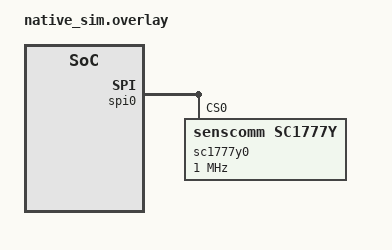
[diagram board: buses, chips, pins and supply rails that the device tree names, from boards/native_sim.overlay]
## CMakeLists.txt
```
# SPDX-License-Identifier: Apache-2.0

cmake_minimum_required(VERSION 3.20.0)
find_package(Zephyr REQUIRED HINTS $ENV{ZEPHYR_BASE})
project(sc1777y)

target_include_directories(app PRIVATE include)
target_sources(app PRIVATE src/fixture.c src/protocol.c src/api_errors.c src/api_basic.c
			   src/api_sensor.c src/api_update.c src/api_platform.c)
```

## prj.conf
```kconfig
CONFIG_ZTEST=y
CONFIG_EMUL=y
CONFIG_SPI=y
CONFIG_SPI_EMUL=y
CONFIG_SC1777Y=y
CONFIG_SC1777Y_EMUL=y
```

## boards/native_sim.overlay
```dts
/ {
	aliases {
		sc1777y-0 = &sc1777y0;
	};
};

&spi0 {
	sc1777y0: sc1777y@0 {
		compatible = "senscomm,sc1777y";
		reg = <0>;
		spi-max-frequency = <1000000>;
	};
};
```

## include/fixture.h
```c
/* SPDX-License-Identifier: Apache-2.0 */

#ifndef TESTS_DRIVERS_MISC_SC1777Y_INCLUDE_FIXTURE_H_
#define TESTS_DRIVERS_MISC_SC1777Y_INCLUDE_FIXTURE_H_

#include <zephyr/device.h>
#include <zephyr/drivers/emul.h>

struct sc1777y_fixture {
	const struct device *dev;
	const struct emul *emul;
};

#endif /* TESTS_DRIVERS_MISC_SC1777Y_INCLUDE_FIXTURE_H_ */
```

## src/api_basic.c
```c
/* SPDX-License-Identifier: Apache-2.0 */

#include <zephyr/drivers/misc/sc1777y.h>
#include <zephyr/drivers/misc/sc1777y_emul.h>
#include <zephyr/ztest.h>

#include "fixture.h"

ZTEST_F(sc1777y, test_get_random_sends_008400040000)
{
	uint8_t rand4[4];
	uint8_t frame[16];
	size_t frame_len;
	const uint8_t expected_frame[] = {0x55, 0x00, 0x84, 0x00, 0x04, 0x00, 0x00, 0x7F};
	const uint8_t expected_rand[] = {0xA0, 0xA1, 0xA2, 0xA3};

	zassert_ok(sc1777y_get_random(fixture->dev, rand4, sizeof(rand4)));
	zassert_mem_equal(expected_rand, rand4, sizeof(expected_rand));
	zassert_ok(sc1777y_emul_get_last_command(fixture->emul, frame, sizeof(frame), &frame_len));
	zassert_mem_equal(expected_frame, frame, sizeof(expected_frame));
	zassert_equal(sizeof(expected_frame), frame_len);
}

ZTEST_F(sc1777y, test_get_random4_sends_008400040000)
{
	uint8_t rand4[4];
	uint8_t frame[16];
	size_t frame_len;
	const uint8_t expected_frame[] = {0x55, 0x00, 0x84, 0x00, 0x04, 0x00, 0x00, 0x7F};
	const uint8_t expected_rand[] = {0xA0, 0xA1, 0xA2, 0xA3};

	zassert_ok(sc1777y_get_random4(fixture->dev, rand4));
	zassert_mem_equal(expected_rand, rand4, sizeof(expected_rand));
	zassert_ok(sc1777y_emul_get_last_command(fixture->emul, frame, sizeof(frame), &frame_len));
	zassert_mem_equal(expected_frame, frame, sizeof(expected_frame));
	zassert_equal(sizeof(expected_frame), frame_len);
}

ZTEST_F(sc1777y, test_get_random4_rejects_null_output)
{
	zassert_equal(-EINVAL, sc1777y_get_random4(fixture->dev, NULL));
	zassert_equal(0, sc1777y_emul_get_command_count(fixture->emul));
}

ZTEST_F(sc1777y, test_get_random_rejects_invalid_lengths)
{
	uint8_t rand4[4];

	zassert_equal(-EINVAL, sc1777y_get_random(fixture->dev, NULL, sizeof(rand4)));
	zassert_equal(-EINVAL, sc1777y_get_random(fixture->dev, rand4, 0));
}

ZTEST_F(sc1777y, test_get_sensor_identity_sends_003600000000)
{
	struct sc1777y_identity identity;
	uint8_t frame[16];
	size_t frame_len;
	const uint8_t expected_frame[] = {0x55, 0x00, 0x36, 0x00, 0x00, 0x00, 0x00, 0xC9};
	const uint8_t expected_serial[] = {0x53, 0x43, 0x17, 0x77, 0x00, 0x00, 0x00, 0x01};
	const uint8_t expected_key_version[] = {0x01, 0x02, 0x03, 0x00};

	zassert_ok(sc1777y_get_sensor_identity(fixture->dev, &identity));
	zassert_mem_equal(expected_serial, identity.serial, sizeof(identity.serial));
	zassert_mem_equal(expected_key_version, identity.key_version,
			  sizeof(identity.key_version));
	zassert_ok(sc1777y_emul_get_last_command(fixture->emul, frame, sizeof(frame), &frame_len));
	zassert_mem_equal(expected_frame, frame, sizeof(expected_frame));
	zassert_equal(sizeof(expected_frame), frame_len);
}

ZTEST_F(sc1777y, test_get_sensor_identity_rejects_null_output)
{
	zassert_equal(-EINVAL, sc1777y_get_sensor_identity(fixture->dev, NULL));
	zassert_equal(0, sc1777y_emul_get_command_count(fixture->emul));
}

ZTEST_F(sc1777y, test_get_update_identity_sends_001000000000)
{
	struct sc1777y_identity identity;
	uint8_t frame[16];
	size_t frame_len;
	const uint8_t expected_frame[] = {0x55, 0x00, 0x10, 0x00, 0x00, 0x00, 0x00, 0xEF};
	const uint8_t expected_serial[] = {0x53, 0x43, 0x17, 0x77, 0x00, 0x00, 0x00, 0x01};
	const uint8_t expected_key_version[] = {0x01, 0x02, 0x03, 0x00};

	zassert_ok(sc1777y_get_update_identity(fixture->dev, &identity));
	zassert_mem_equal(expected_serial, identity.serial, sizeof(identity.serial));
	zassert_mem_equal(expected_key_version, identity.key_version,
			  sizeof(identity.key_version));
	zassert_ok(sc1777y_emul_get_last_command(fixture->emul, frame, sizeof(frame), &frame_len));
	zassert_mem_equal(expected_frame, frame, sizeof(expected_frame));
	zassert_equal(sizeof(expected_frame), frame_len);
}

ZTEST_F(sc1777y, test_get_update_identity_rejects_null_output)
{
	zassert_equal(-EINVAL, sc1777y_get_update_identity(fixture->dev, NULL));
	zassert_equal(0, sc1777y_emul_get_command_count(fixture->emul));
}

ZTEST_F(sc1777y, test_get_version_info_sends_005b00400000)
{
	struct sc1777y_version_info version;
	uint8_t frame[16];
	size_t frame_len;
	uint8_t expected_version[sizeof(version.bytes)];
	const uint8_t expected_frame[] = {0x55, 0x00, 0x5B, 0x00, 0x40, 0x00, 0x00, 0xE4};

	for (size_t i = 0; i < sizeof(expected_version); i++) {
		expected_version[i] = 0x30 + i;
	}

	zassert_ok(sc1777y_get_version_info(fixture->dev, &version));
	zassert_mem_equal(expected_version, version.bytes, sizeof(version.bytes));
	zassert_ok(sc1777y_emul_get_last_command(fixture->emul, frame, sizeof(frame), &frame_len));
	zassert_mem_equal(expected_frame, frame, sizeof(expected_frame));
	zassert_equal(sizeof(expected_frame), frame_len);
}

ZTEST_F(sc1777y, test_get_version_info_rejects_null_output)
{
	zassert_equal(-EINVAL, sc1777y_get_version_info(fixture->dev, NULL));
	zassert_equal(0, sc1777y_emul_get_command_count(fixture->emul));
}

ZTEST_F(sc1777y, test_get_serial_sends_00b0990000020008)
{
	uint8_t serial[SC1777Y_SERIAL_LEN];
	uint8_t frame[16];
	size_t frame_len;
	const uint8_t expected_frame[] = {0x55, 0x00, 0xB0, 0x99, 0x00,
					  0x00, 0x02, 0x00, 0x08, 0xDC};
	const uint8_t expected_serial[] = {0x53, 0x43, 0x17, 0x77, 0x00, 0x00, 0x00, 0x01};

	zassert_ok(sc1777y_get_serial(fixture->dev, serial));
	zassert_mem_equal(expected_serial, serial, sizeof(expected_serial));
	zassert_ok(sc1777y_emul_get_last_command(fixture->emul, frame, sizeof(frame), &frame_len));
	zassert_mem_equal(expected_frame, frame, sizeof(expected_frame));
	zassert_equal(sizeof(expected_frame), frame_len);
}

ZTEST_F(sc1777y, test_get_serial_rejects_null_output)
{
	zassert_equal(-EINVAL, sc1777y_get_serial(fixture->dev, NULL));
	zassert_equal(0, sc1777y_emul_get_command_count(fixture->emul));
}
```

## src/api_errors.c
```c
/* SPDX-License-Identifier: Apache-2.0 */

#include <errno.h>

#include <zephyr/drivers/misc/sc1777y.h>
#include <zephyr/drivers/misc/sc1777y_emul.h>
#include <zephyr/ztest.h>

#include "fixture.h"

ZTEST_F(sc1777y, test_null_device_returns_einval)
{
	uint8_t out[4];

	zassert_equal(-EINVAL, sc1777y_get_random(NULL, out, sizeof(out)));
}

ZTEST_F(sc1777y, test_required_output_pointer_rejected_before_spi)
{
	zassert_equal(-EINVAL, sc1777y_get_sensor_identity(fixture->dev, NULL));
	zassert_equal(0, sc1777y_emul_get_command_count(fixture->emul));
}

ZTEST_F(sc1777y, test_output_buffer_too_small_reports_enomem_before_spi)
{
	uint8_t input[SC1777Y_BLOCK16_MIN_LEN] = {0};
	uint8_t out[SC1777Y_BLOCK16_MIN_LEN - 1U];
	size_t out_len = 0U;

	zassert_equal(-ENOMEM, sc1777y_session_encrypt(fixture->dev, input, sizeof(input), out,
						       sizeof(out), &out_len));
	zassert_equal(sizeof(input), out_len);
	zassert_equal(0, sc1777y_emul_get_command_count(fixture->emul));
}

ZTEST_F(sc1777y, test_invalid_sensor_type_rejected_before_spi)
{
	uint8_t sensor_id[8] = {0};
	uint8_t encrypted[8] = {0};
	uint8_t rand4[4];

	zassert_equal(-EINVAL, sc1777y_verify_sensor_auth(fixture->dev,
							  (enum sc1777y_sensor_type)99,
							  sensor_id, encrypted, rand4));
	zassert_equal(0, sc1777y_emul_get_command_count(fixture->emul));
}

ZTEST_F(sc1777y, test_invalid_platform_type_rejected_before_spi)
{
	zassert_equal(-EINVAL, sc1777y_set_platform_type(fixture->dev,
							 (enum sc1777y_platform_type)99));
	zassert_equal(0, sc1777y_emul_get_command_count(fixture->emul));
}

ZTEST_F(sc1777y, test_sensor_block_length_rejected_before_spi)
{
	uint8_t input[7] = {0};
	uint8_t out[8];
	size_t out_len = 0U;

	zassert_equal(-EINVAL, sc1777y_sensor_encrypt(fixture->dev, input, sizeof(input), out,
						      sizeof(out), &out_len));
	zassert_equal(0, sc1777y_emul_get_command_count(fixture->emul));
}

ZTEST_F(sc1777y, test_session_block_length_rejected_before_spi)
{
	uint8_t input[SC1777Y_BLOCK16_MIN_LEN - 1U] = {0};
	uint8_t out[SC1777Y_BLOCK16_MIN_LEN];
	size_t out_len = 0U;

	zassert_equal(-EINVAL, sc1777y_session_encrypt(fixture->dev, input, sizeof(input), out,
						       sizeof(out), &out_len));
	zassert_equal(0, sc1777y_emul_get_command_count(fixture->emul));
}

ZTEST_F(sc1777y, test_ready_timeout_returns_etimedout)
{
	uint8_t out[4];

	sc1777y_emul_set_ready_delay(fixture->emul, 100000U);
	zassert_equal(-ETIMEDOUT, sc1777y_get_random(fixture->dev, out, sizeof(out)));
	zassert_equal(1, sc1777y_emul_get_command_count(fixture->emul));
}

ZTEST_F(sc1777y, test_6d00_maps_to_enotsup)
{
	uint8_t out[4];

	sc1777y_emul_set_next_status(fixture->emul, 0x6D, 0x00);
	zassert_equal(-ENOTSUP, sc1777y_get_random(fixture->dev, out, sizeof(out)));
	zassert_equal(1, sc1777y_emul_get_command_count(fixture->emul));
}

ZTEST_F(sc1777y, test_semantic_api_maps_6300_to_eacces)
{
	uint8_t out[4];

	sc1777y_emul_set_next_status(fixture->emul, 0x63, 0x00);
	zassert_equal(-EACCES, sc1777y_get_random(fixture->dev, out, sizeof(out)));
	zassert_equal(1, sc1777y_emul_get_command_count(fixture->emul));
}

ZTEST_F(sc1777y, test_repeated_6a90_returns_eio_after_three_attempts)
{
	uint8_t out[4];

	sc1777y_emul_set_status_repeat(fixture->emul, 0x6A, 0x90, 3U);
	zassert_equal(-EIO, sc1777y_get_random(fixture->dev, out, sizeof(out)));
	zassert_equal(3, sc1777y_emul_get_command_count(fixture->emul));
}
```

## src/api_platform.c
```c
/* SPDX-License-Identifier: Apache-2.0 */

#include <errno.h>
#include <string.h>

#include <zephyr/drivers/misc/sc1777y.h>
#include <zephyr/drivers/misc/sc1777y_emul.h>
#include <zephyr/ztest.h>

#include "fixture.h"

static uint8_t expected_lrc(const uint8_t *buf, size_t len)
{
	uint8_t x = 0U;

	for (size_t i = 0; i < len; i++) {
		x ^= buf[i];
	}

	return (uint8_t)~x;
}

static void fill_incrementing(uint8_t *buf, size_t len, uint8_t base)
{
	for (size_t i = 0; i < len; i++) {
		buf[i] = base + i;
	}
}

static void expect_xor_a5(uint8_t *expected, const uint8_t *input, size_t len)
{
	for (size_t i = 0; i < len; i++) {
		expected[i] = input[i] ^ 0xA5;
	}
}

ZTEST_F(sc1777y, test_import_platform_public_key_sends_803001010040)
{
	uint8_t key64[64];
	uint8_t expected_frame[72];
	uint8_t frame[72];
	size_t frame_len;

	fill_incrementing(key64, sizeof(key64), 0x10);
	expected_frame[0] = 0x55;
	expected_frame[1] = 0x80;
	expected_frame[2] = 0x30;
	expected_frame[3] = 0x01;
	expected_frame[4] = 0x01;
	expected_frame[5] = 0x00;
	expected_frame[6] = 0x40;
	memcpy(&expected_frame[7], key64, sizeof(key64));
	expected_frame[sizeof(expected_frame) - 1U] =
		expected_lrc(&expected_frame[1], sizeof(expected_frame) - 2U);

	zassert_ok(sc1777y_import_platform_public_key(fixture->dev, key64));
	zassert_ok(sc1777y_emul_get_last_command(fixture->emul, frame, sizeof(frame), &frame_len));
	zassert_mem_equal(expected_frame, frame, sizeof(expected_frame));
	zassert_equal(sizeof(expected_frame), frame_len);
}

ZTEST_F(sc1777y, test_import_ak_sends_802602000010)
{
	uint8_t ak16[16];
	uint8_t expected_frame[24];
	uint8_t frame[24];
	size_t frame_len;

	fill_incrementing(ak16, sizeof(ak16), 0x20);
	expected_frame[0] = 0x55;
	expected_frame[1] = 0x80;
	expected_frame[2] = 0x26;
	expected_frame[3] = 0x02;
	expected_frame[4] = 0x00;
	expected_frame[5] = 0x00;
	expected_frame[6] = 0x10;
	memcpy(&expected_frame[7], ak16, sizeof(ak16));
	expected_frame[sizeof(expected_frame) - 1U] =
		expected_lrc(&expected_frame[1], sizeof(expected_frame) - 2U);

	zassert_ok(sc1777y_import_ak(fixture->dev, ak16));
	zassert_ok(sc1777y_emul_get_last_command(fixture->emul, frame, sizeof(frame), &frame_len));
	zassert_mem_equal(expected_frame, frame, sizeof(expected_frame));
	zassert_equal(sizeof(expected_frame), frame_len);
}

ZTEST_F(sc1777y, test_import_iv_sends_802604000010)
{
	uint8_t iv16[16];
	uint8_t expected_frame[24];
	uint8_t frame[24];
	size_t frame_len;

	fill_incrementing(iv16, sizeof(iv16), 0x40);
	expected_frame[0] = 0x55;
	expected_frame[1] = 0x80;
	expected_frame[2] = 0x26;
	expected_frame[3] = 0x04;
	expected_frame[4] = 0x00;
	expected_frame[5] = 0x00;
	expected_frame[6] = 0x10;
	memcpy(&expected_frame[7], iv16, sizeof(iv16));
	expected_frame[sizeof(expected_frame) - 1U] =
		expected_lrc(&expected_frame[1], sizeof(expected_frame) - 2U);

	zassert_ok(sc1777y_import_iv(fixture->dev, iv16));
	zassert_ok(sc1777y_emul_get_last_command(fixture->emul, frame, sizeof(frame), &frame_len));
	zassert_mem_equal(expected_frame, frame, sizeof(expected_frame));
	zassert_equal(sizeof(expected_frame), frame_len);
}

ZTEST_F(sc1777y, test_set_platform_type_sends_803e00010000)
{
	const uint8_t expected_frame[] = {0x55, 0x80, 0x3E, 0x00, 0x01, 0x00, 0x00, 0x40};
	uint8_t frame[16];
	size_t frame_len;

	zassert_ok(sc1777y_set_platform_type(fixture->dev, SC1777Y_PLATFORM_NANRUI));
	zassert_ok(sc1777y_emul_get_last_command(fixture->emul, frame, sizeof(frame), &frame_len));
	zassert_mem_equal(expected_frame, frame, sizeof(expected_frame));
	zassert_equal(sizeof(expected_frame), frame_len);
}

ZTEST_F(sc1777y, test_get_platform_type_sends_803e01000000)
{
	const uint8_t expected_frame[] = {0x55, 0x80, 0x3E, 0x01, 0x00, 0x00, 0x00, 0x40};
	uint8_t frame[16];
	size_t frame_len;
	enum sc1777y_platform_type type = SC1777Y_PLATFORM_UNSET;

	zassert_ok(sc1777y_get_platform_type(fixture->dev, &type));
	zassert_equal(SC1777Y_PLATFORM_NANRUI, type);
	zassert_ok(sc1777y_emul_get_last_command(fixture->emul, frame, sizeof(frame), &frame_len));
	zassert_mem_equal(expected_frame, frame, sizeof(expected_frame));
	zassert_equal(sizeof(expected_frame), frame_len);
}

ZTEST_F(sc1777y, test_get_platform_type_accepts_unset_value)
{
	const uint8_t injected_type = SC1777Y_PLATFORM_UNSET;
	enum sc1777y_platform_type type = SC1777Y_PLATFORM_NANRUI;

	zassert_ok(sc1777y_emul_set_fixed_response(fixture->emul, &injected_type,
						 sizeof(injected_type)));
	zassert_ok(sc1777y_get_platform_type(fixture->dev, &type));
	zassert_equal(SC1777Y_PLATFORM_UNSET, type);
}

ZTEST_F(sc1777y, test_generate_sm2_keypair_sends_802c00000000)
{
	const uint8_t expected_frame[] = {0x55, 0x80, 0x2C, 0x00, 0x00, 0x00, 0x00, 0x53};
	uint8_t frame[16];
	size_t frame_len;

	zassert_ok(sc1777y_generate_sm2_keypair(fixture->dev));
	zassert_ok(sc1777y_emul_get_last_command(fixture->emul, frame, sizeof(frame), &frame_len));
	zassert_mem_equal(expected_frame, frame, sizeof(expected_frame));
	zassert_equal(sizeof(expected_frame), frame_len);
}

ZTEST_F(sc1777y, test_generate_cert_request_format_2_sends_803801000003_subject)
{
	const uint8_t subject[] = {'C', 'N', '='};
	const uint8_t expected_prefix[] = "SC1777Y-CERT-REQUEST:";
	uint8_t expected_frame[11];
	uint8_t out[64];
	uint8_t frame[16];
	size_t out_len;
	size_t frame_len;

	expected_frame[0] = 0x55;
	expected_frame[1] = 0x80;
	expected_frame[2] = 0x38;
	expected_frame[3] = 0x01;
	expected_frame[4] = 0x00;
	expected_frame[5] = 0x00;
	expected_frame[6] = sizeof(subject);
	memcpy(&expected_frame[7], subject, sizeof(subject));
	expected_frame[sizeof(expected_frame) - 1U] =
		expected_lrc(&expected_frame[1], sizeof(expected_frame) - 2U);

	zassert_ok(sc1777y_generate_cert_request(fixture->dev, SC1777Y_CERT_REQUEST_FORMAT_2,
						 subject, sizeof(subject), out, sizeof(out),
						 &out_len));
	zassert_true(out_len > sizeof(expected_prefix) - 1U);
	zassert_mem_equal(expected_prefix, out, sizeof(expected_prefix) - 1U);
	zassert_mem_equal(subject, &out[sizeof(expected_prefix) - 1U], sizeof(subject));
	zassert_ok(sc1777y_emul_get_last_command(fixture->emul, frame, sizeof(frame), &frame_len));
	zassert_mem_equal(expected_frame, frame, sizeof(expected_frame));
	zassert_equal(sizeof(expected_frame), frame_len);
}

ZTEST_F(sc1777y, test_session_begin_sends_803a01000000_and_returns_128_bytes)
{
	const uint8_t expected_frame[] = {0x55, 0x80, 0x3A, 0x01, 0x00, 0x00, 0x00, 0x44};
	uint8_t expected_out[SC1777Y_SESSION_RANDOM_LEN];
	uint8_t out[SC1777Y_SESSION_RANDOM_LEN];
	uint8_t frame[16];
	size_t frame_len;

	fill_incrementing(expected_out, sizeof(expected_out), 0xC0);
	zassert_ok(sc1777y_session_begin(fixture->dev, out));
	zassert_mem_equal(expected_out, out, sizeof(out));
	zassert_ok(sc1777y_emul_get_last_command(fixture->emul, frame, sizeof(frame), &frame_len));
	zassert_mem_equal(expected_frame, frame, sizeof(expected_frame));
	zassert_equal(sizeof(expected_frame), frame_len);
}

ZTEST_F(sc1777y, test_hash_response_sends_803201000003_and_returns_32_bytes)
{
	const uint8_t input[] = {0x01, 0x02, 0x03};
	uint8_t expected_frame[11];
	uint8_t expected_hash[SC1777Y_HASH_LEN];
	uint8_t hash[SC1777Y_HASH_LEN];
	uint8_t frame[16];
	size_t frame_len;

	expected_frame[0] = 0x55;
	expected_frame[1] = 0x80;
	expected_frame[2] = 0x32;
	expected_frame[3] = 0x01;
	expected_frame[4] = 0x00;
	expected_frame[5] = 0x00;
	expected_frame[6] = sizeof(input);
	memcpy(&expected_frame[7], input, sizeof(input));
	expected_frame[sizeof(expected_frame) - 1U] =
		expected_lrc(&expected_frame[1], sizeof(expected_frame) - 2U);
	fill_incrementing(expected_hash, sizeof(expected_hash), 0xD0);

	zassert_ok(sc1777y_hash(fixture->dev, SC1777Y_HASH_RESPONSE, input, sizeof(input), hash));
	zassert_mem_equal(expected_hash, hash, sizeof(hash));
	zassert_ok(sc1777y_emul_get_last_command(fixture->emul, frame, sizeof(frame), &frame_len));
	zassert_mem_equal(expected_frame, frame, sizeof(expected_frame));
	zassert_equal(sizeof(expected_frame), frame_len);
}

ZTEST_F(sc1777y, test_sign_hash_sends_803400000020_and_returns_64_bytes)
{
	uint8_t hash[SC1777Y_HASH_LEN];
	uint8_t signature[SC1777Y_SIGNATURE_LEN];
	uint8_t expected_signature[SC1777Y_SIGNATURE_LEN];
	uint8_t expected_frame[40];
	uint8_t frame[48];
	size_t frame_len;

	fill_incrementing(hash, sizeof(hash), 0x31);
	expected_frame[0] = 0x55;
	expected_frame[1] = 0x80;
	expected_frame[2] = 0x34;
	expected_frame[3] = 0x00;
	expected_frame[4] = 0x00;
	expected_frame[5] = 0x00;
	expected_frame[6] = SC1777Y_HASH_LEN;
	memcpy(&expected_frame[7], hash, sizeof(hash));
	expected_frame[sizeof(expected_frame) - 1U] =
		expected_lrc(&expected_frame[1], sizeof(expected_frame) - 2U);
	fill_incrementing(expected_signature, sizeof(expected_signature), 0xE0);

	zassert_ok(sc1777y_sign_hash(fixture->dev, hash, signature));
	zassert_mem_equal(expected_signature, signature, sizeof(signature));
	zassert_ok(sc1777y_emul_get_last_command(fixture->emul, frame, sizeof(frame), &frame_len));
	zassert_mem_equal(expected_frame, frame, sizeof(expected_frame));
	zassert_equal(sizeof(expected_frame), frame_len);
}

ZTEST_F(sc1777y, test_verify_signature_sends_803600010060)
{
	uint8_t hash[SC1777Y_HASH_LEN];
	uint8_t signature[SC1777Y_SIGNATURE_LEN];
	uint8_t expected_frame[104];
	uint8_t frame[112];
	size_t frame_len;

	fill_incrementing(hash, sizeof(hash), 0x41);
	fill_incrementing(signature, sizeof(signature), 0x61);
	expected_frame[0] = 0x55;
	expected_frame[1] = 0x80;
	expected_frame[2] = 0x36;
	expected_frame[3] = 0x00;
	expected_frame[4] = 0x01;
	expected_frame[5] = 0x00;
	expected_frame[6] = 0x60;
	memcpy(&expected_frame[7], hash, sizeof(hash));
	memcpy(&expected_frame[7 + sizeof(hash)], signature, sizeof(signature));
	expected_frame[sizeof(expected_frame) - 1U] =
		expected_lrc(&expected_frame[1], sizeof(expected_frame) - 2U);

	zassert_ok(sc1777y_verify_signature(fixture->dev, hash, signature));
	zassert_ok(sc1777y_emul_get_last_command(fixture->emul, frame, sizeof(frame), &frame_len));
	zassert_mem_equal(expected_frame, frame, sizeof(expected_frame));
	zassert_equal(sizeof(expected_frame), frame_len);
}

ZTEST_F(sc1777y, test_generate_auth_response_sends_802a01040020_and_returns_146_bytes)
{
	uint8_t factor[SC1777Y_AUTH_FACTOR_LEN];
	uint8_t response[SC1777Y_AUTH_RESPONSE_LEN];
	uint8_t expected_response[SC1777Y_AUTH_RESPONSE_LEN];
	uint8_t expected_frame[40];
	uint8_t frame[48];
	size_t frame_len;

	fill_incrementing(factor, sizeof(factor), 0x51);
	expected_frame[0] = 0x55;
	expected_frame[1] = 0x80;
	expected_frame[2] = 0x2A;
	expected_frame[3] = 0x01;
	expected_frame[4] = 0x04;
	expected_frame[5] = 0x00;
	expected_frame[6] = SC1777Y_AUTH_FACTOR_LEN;
	memcpy(&expected_frame[7], factor, sizeof(factor));
	expected_frame[sizeof(expected_frame) - 1U] =
		expected_lrc(&expected_frame[1], sizeof(expected_frame) - 2U);
	fill_incrementing(expected_response, sizeof(expected_response), 0x70);

	zassert_ok(sc1777y_generate_auth_response(fixture->dev, factor, response));
	zassert_mem_equal(expected_response, response, sizeof(response));
	zassert_ok(sc1777y_emul_get_last_command(fixture->emul, frame, sizeof(frame), &frame_len));
	zassert_mem_equal(expected_frame, frame, sizeof(expected_frame));
	zassert_equal(sizeof(expected_frame), frame_len);
}

ZTEST_F(sc1777y, test_session_confirm_sends_803c00000080_and_returns_32_bytes)
{
	uint8_t en_r2[SC1777Y_SESSION_RANDOM_LEN];
	uint8_t dkhash[SC1777Y_SESSION_DKHASH_LEN];
	uint8_t expected_dkhash[SC1777Y_SESSION_DKHASH_LEN];
	uint8_t expected_frame[136];
	uint8_t frame[144];
	size_t frame_len;

	fill_incrementing(en_r2, sizeof(en_r2), 0x71);
	expected_frame[0] = 0x55;
	expected_frame[1] = 0x80;
	expected_frame[2] = 0x3C;
	expected_frame[3] = 0x00;
	expected_frame[4] = 0x00;
	expected_frame[5] = 0x00;
	expected_frame[6] = 0x80;
	memcpy(&expected_frame[7], en_r2, sizeof(en_r2));
	expected_frame[sizeof(expected_frame) - 1U] =
		expected_lrc(&expected_frame[1], sizeof(expected_frame) - 2U);
	fill_incrementing(expected_dkhash, sizeof(expected_dkhash), 0x90);

	zassert_ok(sc1777y_session_confirm(fixture->dev, en_r2, dkhash));
	zassert_mem_equal(expected_dkhash, dkhash, sizeof(dkhash));
	zassert_ok(sc1777y_emul_get_last_command(fixture->emul, frame, sizeof(frame), &frame_len));
	zassert_mem_equal(expected_frame, frame, sizeof(expected_frame));
	zassert_equal(sizeof(expected_frame), frame_len);
}

ZTEST_F(sc1777y, test_session_encrypt_sends_802880000010_and_xors_output)
{
	const uint8_t input[SC1777Y_BLOCK16_MIN_LEN] = {
		0x01, 0x11, 0x21, 0x31, 0x41, 0x51, 0x61, 0x71,
		0x81, 0x91, 0xA1, 0xB1, 0xC1, 0xD1, 0xE1, 0xF1,
	};
	uint8_t expected_out[sizeof(input)];
	uint8_t out[sizeof(input)];
	uint8_t expected_frame[24];
	uint8_t frame[32];
	size_t out_len;
	size_t frame_len;

	expected_frame[0] = 0x55;
	expected_frame[1] = 0x80;
	expected_frame[2] = 0x28;
	expected_frame[3] = 0x80;
	expected_frame[4] = 0x00;
	expected_frame[5] = 0x00;
	expected_frame[6] = sizeof(input);
	memcpy(&expected_frame[7], input, sizeof(input));
	expected_frame[sizeof(expected_frame) - 1U] =
		expected_lrc(&expected_frame[1], sizeof(expected_frame) - 2U);
	expect_xor_a5(expected_out, input, sizeof(input));

	zassert_ok(sc1777y_session_encrypt(fixture->dev, input, sizeof(input), out, sizeof(out),
					   &out_len));
	zassert_mem_equal(expected_out, out, sizeof(out));
	zassert_equal(sizeof(out), out_len);
	zassert_ok(sc1777y_emul_get_last_command(fixture->emul, frame, sizeof(frame), &frame_len));
	zassert_mem_equal(expected_frame, frame, sizeof(expected_frame));
	zassert_equal(sizeof(expected_frame), frame_len);
}

ZTEST_F(sc1777y, test_session_decrypt_sends_802881000010_and_xors_output)
{
	const uint8_t input[SC1777Y_BLOCK16_MIN_LEN] = {
		0xF1, 0xE1, 0xD1, 0xC1, 0xB1, 0xA1, 0x91, 0x81,
		0x71, 0x61, 0x51, 0x41, 0x31, 0x21, 0x11, 0x01,
	};
	uint8_t expected_out[sizeof(input)];
	uint8_t out[sizeof(input)];
	uint8_t expected_frame[24];
	uint8_t frame[32];
	size_t out_len;
	size_t frame_len;

	expected_frame[0] = 0x55;
	expected_frame[1] = 0x80;
	expected_frame[2] = 0x28;
	expected_frame[3] = 0x81;
	expected_frame[4] = 0x00;
	expected_frame[5] = 0x00;
	expected_frame[6] = sizeof(input);
	memcpy(&expected_frame[7], input, sizeof(input));
	expected_frame[sizeof(expected_frame) - 1U] =
		expected_lrc(&expected_frame[1], sizeof(expected_frame) - 2U);
	expect_xor_a5(expected_out, input, sizeof(input));

	zassert_ok(sc1777y_session_decrypt(fixture->dev, input, sizeof(input), out, sizeof(out),
					   &out_len));
	zassert_mem_equal(expected_out, out, sizeof(out));
	zassert_equal(sizeof(out), out_len);
	zassert_ok(sc1777y_emul_get_last_command(fixture->emul, frame, sizeof(frame), &frame_len));
	zassert_mem_equal(expected_frame, frame, sizeof(expected_frame));
	zassert_equal(sizeof(expected_frame), frame_len);
}

ZTEST_F(sc1777y, test_platform_apis_reject_fixed_length_invalid_input_before_spi)
{
	uint8_t hash[SC1777Y_HASH_LEN] = {0};
	uint8_t signature[SC1777Y_SIGNATURE_LEN] = {0};
	uint8_t factor[SC1777Y_AUTH_FACTOR_LEN] = {0};
	uint8_t en_r2[SC1777Y_SESSION_RANDOM_LEN] = {0};
	uint8_t response[SC1777Y_AUTH_RESPONSE_LEN];
	uint8_t dkhash[SC1777Y_SESSION_DKHASH_LEN];

	zassert_equal(-EINVAL, sc1777y_import_platform_public_key(fixture->dev, NULL));
	zassert_equal(-EINVAL, sc1777y_import_ak(fixture->dev, NULL));
	zassert_equal(-EINVAL, sc1777y_import_iv(fixture->dev, NULL));
	zassert_equal(-EINVAL, sc1777y_session_begin(fixture->dev, NULL));
	zassert_equal(-EINVAL, sc1777y_sign_hash(fixture->dev, NULL, signature));
	zassert_equal(-EINVAL, sc1777y_sign_hash(fixture->dev, hash, NULL));
	zassert_equal(-EINVAL, sc1777y_verify_signature(fixture->dev, NULL, signature));
	zassert_equal(-EINVAL, sc1777y_verify_signature(fixture->dev, hash, NULL));
	zassert_equal(-EINVAL, sc1777y_generate_auth_response(fixture->dev, NULL, response));
	zassert_equal(-EINVAL, sc1777y_generate_auth_response(fixture->dev, factor, NULL));
	zassert_equal(-EINVAL, sc1777y_session_confirm(fixture->dev, NULL, dkhash));
	zassert_equal(-EINVAL, sc1777y_session_confirm(fixture->dev, en_r2, NULL));
	zassert_equal(0, sc1777y_emul_get_command_count(fixture->emul));
}

ZTEST_F(sc1777y, test_set_platform_type_rejects_invalid_enum_before_spi)
{
	zassert_equal(-EINVAL, sc1777y_set_platform_type(fixture->dev,
							 SC1777Y_PLATFORM_UNSET));
	zassert_equal(-EINVAL, sc1777y_set_platform_type(fixture->dev,
							 (enum sc1777y_platform_type)99));
	zassert_equal(0, sc1777y_emul_get_command_count(fixture->emul));
}

ZTEST_F(sc1777y, test_get_platform_type_rejects_null_out_before_spi)
{
	zassert_equal(-EINVAL, sc1777y_get_platform_type(fixture->dev, NULL));
	zassert_equal(0, sc1777y_emul_get_command_count(fixture->emul));
}

ZTEST_F(sc1777y, test_generate_cert_request_rejects_invalid_arguments_before_spi)
{
	uint8_t out[8];
	size_t out_len = 0U;

	zassert_equal(-EINVAL, sc1777y_generate_cert_request(fixture->dev,
							     SC1777Y_CERT_REQUEST_FORMAT_1,
							     NULL, 1U, out, sizeof(out),
							     &out_len));
	zassert_equal(-EINVAL, sc1777y_generate_cert_request(fixture->dev,
							     SC1777Y_CERT_REQUEST_FORMAT_1,
							     out, sizeof(out), NULL,
							     sizeof(out), &out_len));
	zassert_equal(-EINVAL, sc1777y_generate_cert_request(fixture->dev,
							     SC1777Y_CERT_REQUEST_FORMAT_1,
							     out, sizeof(out), out,
							     sizeof(out), NULL));
	zassert_equal(-EINVAL, sc1777y_generate_cert_request(fixture->dev,
							     (enum sc1777y_cert_request_format)2,
							     out, sizeof(out), out,
							     sizeof(out), &out_len));
	zassert_equal(0, sc1777y_emul_get_command_count(fixture->emul));
}

ZTEST_F(sc1777y, test_generate_cert_request_clears_out_len_on_command_error)
{
	const uint8_t subject[] = {'C', 'N', '='};
	uint8_t out[8];
	size_t out_len = 123U;

	zassert_equal(-EINVAL, sc1777y_generate_cert_request(NULL,
							     SC1777Y_CERT_REQUEST_FORMAT_1,
							     subject, sizeof(subject), out,
							     sizeof(out), &out_len));
	zassert_equal(0U, out_len);
	zassert_equal(0, sc1777y_emul_get_command_count(fixture->emul));
}

ZTEST_F(sc1777y, test_hash_rejects_invalid_arguments_before_spi)
{
	uint8_t hash[SC1777Y_HASH_LEN];

	zassert_equal(-EINVAL, sc1777y_hash(fixture->dev, SC1777Y_HASH_REQUEST, NULL, 1U, hash));
	zassert_equal(-EINVAL, sc1777y_hash(fixture->dev, SC1777Y_HASH_REQUEST, hash, 1U, NULL));
	zassert_equal(-EINVAL, sc1777y_hash(fixture->dev, (enum sc1777y_hash_target)2, hash, 1U,
					    hash));
	zassert_equal(0, sc1777y_emul_get_command_count(fixture->emul));
}

ZTEST_F(sc1777y, test_session_crypto_rejects_invalid_block_length_before_spi)
{
	const uint8_t short_block[15] = {0};
	const uint8_t odd_block[17] = {0};
	uint8_t out[SC1777Y_BLOCK16_MIN_LEN];
	size_t out_len = 0U;

	zassert_equal(-EINVAL, sc1777y_session_encrypt(fixture->dev, short_block,
						       sizeof(short_block), out, sizeof(out),
						       &out_len));
	zassert_equal(-EINVAL, sc1777y_session_decrypt(fixture->dev, odd_block,
						       sizeof(odd_block), out, sizeof(out),
						       &out_len));
	zassert_equal(0, sc1777y_emul_get_command_count(fixture->emul));
}

ZTEST_F(sc1777y, test_session_crypto_reports_required_length_before_spi)
{
	uint8_t input[SC1777Y_BLOCK16_MIN_LEN] = {0};
	uint8_t out[SC1777Y_BLOCK16_MIN_LEN - 1U];
	size_t out_len = 0U;

	zassert_equal(-ENOMEM, sc1777y_session_encrypt(fixture->dev, input, sizeof(input), out,
						       sizeof(out), &out_len));
	zassert_equal(sizeof(input), out_len);
	zassert_equal(0, sc1777y_emul_get_command_count(fixture->emul));
}
```

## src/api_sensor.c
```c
/* SPDX-License-Identifier: Apache-2.0 */

#include <errno.h>

#include <zephyr/drivers/misc/sc1777y.h>
#include <zephyr/drivers/misc/sc1777y_emul.h>
#include <zephyr/ztest.h>

#include "fixture.h"

static void expect_xor_5a(uint8_t *expected, const uint8_t *input, size_t len)
{
	for (size_t i = 0; i < len; i++) {
		expected[i] = input[i] ^ 0x5A;
	}
}

ZTEST_F(sc1777y, test_encrypt_sensor_challenge_sends_0088000100080004_rand4_8000)
{
	const uint8_t rand4[4] = {0x11, 0x22, 0x33, 0x44};
	const uint8_t expected_frame[] = {0x55, 0x00, 0x88, 0x00, 0x01, 0x00, 0x08,
					  0x00, 0x04, 0x11, 0x22, 0x33, 0x44, 0x80, 0x00,
					  0xBE};
	const uint8_t expected_encrypted[8] = {0xC0, 0xC1, 0xC2, 0xC3,
					       0xC4, 0xC5, 0xC6, 0xC7};
	uint8_t encrypted8[8];
	uint8_t frame[32];
	size_t frame_len;

	zassert_ok(sc1777y_encrypt_sensor_challenge(fixture->dev, rand4, encrypted8));
	zassert_mem_equal(expected_encrypted, encrypted8, sizeof(expected_encrypted));
	zassert_ok(sc1777y_emul_get_last_command(fixture->emul, frame, sizeof(frame), &frame_len));
	zassert_mem_equal(expected_frame, frame, sizeof(expected_frame));
	zassert_equal(sizeof(expected_frame), frame_len);
}

ZTEST_F(sc1777y, test_verify_sensor_auth_new_sends_800801040010)
{
	const uint8_t id[8] = {1, 2, 3, 4, 5, 6, 7, 8};
	const uint8_t encrypted[8] = {9, 10, 11, 12, 13, 14, 15, 16};
	const uint8_t expected_rand4[4] = {0xD0, 0xD1, 0xD2, 0xD3};
	const uint8_t expected_frame[] = {0x55, 0x80, 0x08, 0x01, 0x04, 0x00, 0x10,
					  0x01, 0x02, 0x03, 0x04, 0x05, 0x06, 0x07,
					  0x08, 0x09, 0x0A, 0x0B, 0x0C, 0x0D, 0x0E,
					  0x0F, 0x10, 0x72};
	uint8_t rand4[4];
	uint8_t frame[32];
	size_t frame_len;

	zassert_ok(sc1777y_verify_sensor_auth(fixture->dev, SC1777Y_SENSOR_NEW, id, encrypted,
					      rand4));
	zassert_mem_equal(expected_rand4, rand4, sizeof(expected_rand4));
	zassert_ok(sc1777y_emul_get_last_command(fixture->emul, frame, sizeof(frame), &frame_len));
	zassert_mem_equal(expected_frame, frame, sizeof(expected_frame));
	zassert_equal(sizeof(expected_frame), frame_len);
}

ZTEST_F(sc1777y, test_verify_sensor_auth_legacy_sends_800801010010)
{
	const uint8_t id[8] = {0x21, 0x22, 0x23, 0x24, 0x25, 0x26, 0x27, 0x28};
	const uint8_t encrypted[8] = {0x31, 0x32, 0x33, 0x34, 0x35, 0x36, 0x37, 0x38};
	const uint8_t expected_frame[] = {0x55, 0x80, 0x08, 0x01, 0x01, 0x00, 0x10,
					  0x21, 0x22, 0x23, 0x24, 0x25, 0x26, 0x27,
					  0x28, 0x31, 0x32, 0x33, 0x34, 0x35, 0x36,
					  0x37, 0x38, 0x67};
	uint8_t rand4[4];
	uint8_t frame[32];
	size_t frame_len;

	zassert_ok(sc1777y_verify_sensor_auth(fixture->dev, SC1777Y_SENSOR_LEGACY, id, encrypted,
					      rand4));
	zassert_ok(sc1777y_emul_get_last_command(fixture->emul, frame, sizeof(frame), &frame_len));
	zassert_mem_equal(expected_frame, frame, sizeof(expected_frame));
	zassert_equal(sizeof(expected_frame), frame_len);
}

ZTEST_F(sc1777y, test_sensor_encrypt_sends_800680010008_and_xors_output)
{
	const uint8_t input[8] = {0x10, 0x20, 0x30, 0x40, 0x50, 0x60, 0x70, 0x80};
	const uint8_t expected_frame[] = {0x55, 0x80, 0x06, 0x80, 0x01, 0x00, 0x08,
					  0x10, 0x20, 0x30, 0x40, 0x50, 0x60, 0x70, 0x80,
					  0x70};
	uint8_t expected_out[8];
	uint8_t out[8];
	uint8_t frame[32];
	size_t out_len;
	size_t frame_len;

	expect_xor_5a(expected_out, input, sizeof(input));
	zassert_ok(sc1777y_sensor_encrypt(fixture->dev, input, sizeof(input), out, sizeof(out),
					  &out_len));
	zassert_mem_equal(expected_out, out, sizeof(out));
	zassert_equal(sizeof(out), out_len);
	zassert_ok(sc1777y_emul_get_last_command(fixture->emul, frame, sizeof(frame), &frame_len));
	zassert_mem_equal(expected_frame, frame, sizeof(expected_frame));
	zassert_equal(sizeof(expected_frame), frame_len);
}

ZTEST_F(sc1777y, test_sensor_decrypt_from_terminal_sends_800880010008_and_xors_output)
{
	const uint8_t input[8] = {0x01, 0x23, 0x45, 0x67, 0x89, 0xAB, 0xCD, 0xEF};
	const uint8_t expected_frame[] = {0x55, 0x80, 0x08, 0x80, 0x01, 0x00, 0x08,
					  0x01, 0x23, 0x45, 0x67, 0x89, 0xAB, 0xCD, 0xEF,
					  0xFE};
	uint8_t expected_out[8];
	uint8_t out[8];
	uint8_t frame[32];
	size_t out_len;
	size_t frame_len;

	expect_xor_5a(expected_out, input, sizeof(input));
	zassert_ok(sc1777y_sensor_decrypt_from_terminal(fixture->dev, input, sizeof(input), out,
							sizeof(out), &out_len));
	zassert_mem_equal(expected_out, out, sizeof(out));
	zassert_equal(sizeof(out), out_len);
	zassert_ok(sc1777y_emul_get_last_command(fixture->emul, frame, sizeof(frame), &frame_len));
	zassert_mem_equal(expected_frame, frame, sizeof(expected_frame));
	zassert_equal(sizeof(expected_frame), frame_len);
}

ZTEST_F(sc1777y, test_terminal_decrypt_sensor_legacy_sends_p2_02)
{
	const uint8_t id[8] = {0xA1, 0xA2, 0xA3, 0xA4, 0xA5, 0xA6, 0xA7, 0xA8};
	const uint8_t input[8] = {0x11, 0x21, 0x31, 0x41, 0x51, 0x61, 0x71, 0x81};
	const uint8_t expected_frame[] = {0x55, 0x80, 0x08, 0x81, 0x02, 0x00, 0x10,
					  0xA1, 0xA2, 0xA3, 0xA4, 0xA5, 0xA6, 0xA7,
					  0xA8, 0x11, 0x21, 0x31, 0x41, 0x51, 0x61,
					  0x71, 0x81, 0x6C};
	uint8_t expected_out[8];
	uint8_t out[8];
	uint8_t frame[32];
	size_t out_len;
	size_t frame_len;

	expect_xor_5a(expected_out, input, sizeof(input));
	zassert_ok(sc1777y_terminal_decrypt_sensor(fixture->dev, SC1777Y_SENSOR_LEGACY, id,
						   input, sizeof(input), out, sizeof(out),
						   &out_len));
	zassert_mem_equal(expected_out, out, sizeof(out));
	zassert_equal(sizeof(out), out_len);
	zassert_ok(sc1777y_emul_get_last_command(fixture->emul, frame, sizeof(frame), &frame_len));
	zassert_mem_equal(expected_frame, frame, sizeof(expected_frame));
	zassert_equal(sizeof(expected_frame), frame_len);
}

ZTEST_F(sc1777y, test_terminal_decrypt_sensor_new_sends_full_frame_p2_05)
{
	const uint8_t id[8] = {0xB1, 0xB2, 0xB3, 0xB4, 0xB5, 0xB6, 0xB7, 0xB8};
	const uint8_t input[8] = {0x12, 0x22, 0x32, 0x42, 0x52, 0x62, 0x72, 0x82};
	const uint8_t expected_frame[] = {0x55, 0x80, 0x08, 0x81, 0x05, 0x00, 0x10,
					  0xB1, 0xB2, 0xB3, 0xB4, 0xB5, 0xB6, 0xB7,
					  0xB8, 0x12, 0x22, 0x32, 0x42, 0x52, 0x62,
					  0x72, 0x82, 0x6B};
	uint8_t out[8];
	uint8_t frame[32];
	size_t out_len;
	size_t frame_len;

	zassert_ok(sc1777y_terminal_decrypt_sensor(fixture->dev, SC1777Y_SENSOR_NEW, id, input,
						   sizeof(input), out, sizeof(out), &out_len));
	zassert_ok(sc1777y_emul_get_last_command(fixture->emul, frame, sizeof(frame), &frame_len));
	zassert_mem_equal(expected_frame, frame, sizeof(expected_frame));
	zassert_equal(sizeof(expected_frame), frame_len);
}

ZTEST_F(sc1777y, test_terminal_encrypt_sensor_legacy_sends_full_frame_p2_02)
{
	const uint8_t id[8] = {0xC1, 0xC2, 0xC3, 0xC4, 0xC5, 0xC6, 0xC7, 0xC8};
	const uint8_t input[8] = {0x13, 0x23, 0x33, 0x43, 0x53, 0x63, 0x73, 0x83};
	const uint8_t expected_frame[] = {0x55, 0x80, 0x06, 0x81, 0x02, 0x00, 0x10,
					  0xC1, 0xC2, 0xC3, 0xC4, 0xC5, 0xC6, 0xC7,
					  0xC8, 0x13, 0x23, 0x33, 0x43, 0x53, 0x63,
					  0x73, 0x83, 0x62};
	uint8_t out[8];
	uint8_t frame[32];
	size_t out_len;
	size_t frame_len;

	zassert_ok(sc1777y_terminal_encrypt_sensor(fixture->dev, SC1777Y_SENSOR_LEGACY, id, input,
						   sizeof(input), out, sizeof(out), &out_len));
	zassert_ok(sc1777y_emul_get_last_command(fixture->emul, frame, sizeof(frame), &frame_len));
	zassert_mem_equal(expected_frame, frame, sizeof(expected_frame));
	zassert_equal(sizeof(expected_frame), frame_len);
}

ZTEST_F(sc1777y, test_terminal_encrypt_sensor_new_sends_p2_05_and_xors_output)
{
	const uint8_t id[8] = {0xD1, 0xD2, 0xD3, 0xD4, 0xD5, 0xD6, 0xD7, 0xD8};
	const uint8_t input[8] = {0x14, 0x24, 0x34, 0x44, 0x54, 0x64, 0x74, 0x84};
	const uint8_t expected_frame[] = {0x55, 0x80, 0x06, 0x81, 0x05, 0x00, 0x10,
					  0xD1, 0xD2, 0xD3, 0xD4, 0xD5, 0xD6, 0xD7,
					  0xD8, 0x14, 0x24, 0x34, 0x44, 0x54, 0x64,
					  0x74, 0x84, 0x65};
	uint8_t expected_out[8];
	uint8_t out[8];
	uint8_t frame[32];
	size_t out_len;
	size_t frame_len;

	expect_xor_5a(expected_out, input, sizeof(input));
	zassert_ok(sc1777y_terminal_encrypt_sensor(fixture->dev, SC1777Y_SENSOR_NEW, id, input,
						   sizeof(input), out, sizeof(out), &out_len));
	zassert_mem_equal(expected_out, out, sizeof(out));
	zassert_equal(sizeof(out), out_len);
	zassert_ok(sc1777y_emul_get_last_command(fixture->emul, frame, sizeof(frame), &frame_len));
	zassert_mem_equal(expected_frame, frame, sizeof(expected_frame));
	zassert_equal(sizeof(expected_frame), frame_len);
}

ZTEST_F(sc1777y, test_sensor_encrypt_rejects_invalid_block_size_before_spi)
{
	const uint8_t input[7] = {0};
	uint8_t out[8];
	size_t out_len;

	zassert_equal(-EINVAL, sc1777y_sensor_encrypt(fixture->dev, input, sizeof(input), out,
						      sizeof(out), &out_len));
	zassert_equal(0, sc1777y_emul_get_command_count(fixture->emul));
}

ZTEST_F(sc1777y, test_sensor_encrypt_rejects_null_out_len_before_spi)
{
	const uint8_t input[8] = {0};
	uint8_t out[8];

	zassert_equal(-EINVAL, sc1777y_sensor_encrypt(fixture->dev, input, sizeof(input), out,
						      sizeof(out), NULL));
	zassert_equal(0, sc1777y_emul_get_command_count(fixture->emul));
}

ZTEST_F(sc1777y, test_sensor_decrypt_from_terminal_rejects_null_out_len_before_spi)
{
	const uint8_t input[8] = {0};
	uint8_t out[8];

	zassert_equal(-EINVAL, sc1777y_sensor_decrypt_from_terminal(fixture->dev, input,
								    sizeof(input), out,
								    sizeof(out), NULL));
	zassert_equal(0, sc1777y_emul_get_command_count(fixture->emul));
}

ZTEST_F(sc1777y, test_terminal_decrypt_sensor_rejects_null_out_len_before_spi)
{
	const uint8_t id[8] = {0};
	const uint8_t input[8] = {0};
	uint8_t out[8];

	zassert_equal(-EINVAL, sc1777y_terminal_decrypt_sensor(fixture->dev,
							       SC1777Y_SENSOR_LEGACY, id, input,
							       sizeof(input), out, sizeof(out),
							       NULL));
	zassert_equal(0, sc1777y_emul_get_command_count(fixture->emul));
}

ZTEST_F(sc1777y, test_terminal_encrypt_sensor_rejects_null_out_len_before_spi)
{
	const uint8_t id[8] = {0};
	const uint8_t input[8] = {0};
	uint8_t out[8];

	zassert_equal(-EINVAL, sc1777y_terminal_encrypt_sensor(fixture->dev,
							       SC1777Y_SENSOR_LEGACY, id, input,
							       sizeof(input), out, sizeof(out),
							       NULL));
	zassert_equal(0, sc1777y_emul_get_command_count(fixture->emul));
}

ZTEST_F(sc1777y, test_sensor_encrypt_reports_required_length_before_spi)
{
	const uint8_t input[8] = {0};
	uint8_t out[7];
	size_t out_len = 0U;

	zassert_equal(-ENOMEM, sc1777y_sensor_encrypt(fixture->dev, input, sizeof(input), out,
						      sizeof(out), &out_len));
	zassert_equal(sizeof(input), out_len);
	zassert_equal(0, sc1777y_emul_get_command_count(fixture->emul));
}

ZTEST_F(sc1777y, test_sensor_decrypt_from_terminal_reports_required_length_before_spi)
{
	const uint8_t input[8] = {0};
	uint8_t out[7];
	size_t out_len = 0U;

	zassert_equal(-ENOMEM, sc1777y_sensor_decrypt_from_terminal(fixture->dev, input,
								    sizeof(input), out,
								    sizeof(out), &out_len));
	zassert_equal(sizeof(input), out_len);
	zassert_equal(0, sc1777y_emul_get_command_count(fixture->emul));
}

ZTEST_F(sc1777y, test_terminal_decrypt_sensor_reports_required_length_before_spi)
{
	const uint8_t id[8] = {0};
	const uint8_t input[8] = {0};
	uint8_t out[7];
	size_t out_len = 0U;

	zassert_equal(-ENOMEM, sc1777y_terminal_decrypt_sensor(fixture->dev,
							       SC1777Y_SENSOR_LEGACY, id, input,
							       sizeof(input), out, sizeof(out),
							       &out_len));
	zassert_equal(sizeof(input), out_len);
	zassert_equal(0, sc1777y_emul_get_command_count(fixture->emul));
}

ZTEST_F(sc1777y, test_terminal_encrypt_sensor_reports_required_length_before_spi)
{
	const uint8_t id[8] = {0};
	const uint8_t input[8] = {0};
	uint8_t out[7];
	size_t out_len = 0U;

	zassert_equal(-ENOMEM, sc1777y_terminal_encrypt_sensor(fixture->dev,
							       SC1777Y_SENSOR_LEGACY, id, input,
							       sizeof(input), out, sizeof(out),
							       &out_len));
	zassert_equal(sizeof(input), out_len);
	zassert_equal(0, sc1777y_emul_get_command_count(fixture->emul));
}
```

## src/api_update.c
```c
/* SPDX-License-Identifier: Apache-2.0 */

#include <errno.h>
#include <string.h>

#include <zephyr/drivers/misc/sc1777y.h>
#include <zephyr/drivers/misc/sc1777y_emul.h>
#include <zephyr/ztest.h>

#include "fixture.h"

static uint8_t expected_lrc(const uint8_t *buf, size_t len)
{
	uint8_t x = 0U;

	for (size_t i = 0; i < len; i++) {
		x ^= buf[i];
	}

	return (uint8_t)~x;
}

ZTEST_F(sc1777y, test_update_identity_sends_001000000000)
{
	struct sc1777y_identity identity;
	uint8_t frame[16];
	size_t frame_len;
	const uint8_t expected_frame[] = {0x55, 0x00, 0x10, 0x00, 0x00, 0x00, 0x00, 0xEF};
	const uint8_t expected_serial[] = {0x53, 0x43, 0x17, 0x77, 0x00, 0x00, 0x00, 0x01};
	const uint8_t expected_key_version[] = {0x01, 0x02, 0x03, 0x00};

	zassert_ok(sc1777y_get_update_identity(fixture->dev, &identity));
	zassert_mem_equal(expected_serial, identity.serial, sizeof(identity.serial));
	zassert_mem_equal(expected_key_version, identity.key_version,
			  sizeof(identity.key_version));
	zassert_ok(sc1777y_emul_get_last_command(fixture->emul, frame, sizeof(frame), &frame_len));
	zassert_mem_equal(expected_frame, frame, sizeof(expected_frame));
	zassert_equal(sizeof(expected_frame), frame_len);
}

ZTEST_F(sc1777y, test_get_random8_sends_008400080000)
{
	uint8_t rand8[8];
	uint8_t frame[16];
	size_t frame_len;
	const uint8_t expected_frame[] = {0x55, 0x00, 0x84, 0x00, 0x08, 0x00, 0x00, 0x73};
	const uint8_t expected_rand[] = {0xA0, 0xA1, 0xA2, 0xA3,
					 0xA4, 0xA5, 0xA6, 0xA7};

	zassert_ok(sc1777y_get_random8(fixture->dev, rand8));
	zassert_mem_equal(expected_rand, rand8, sizeof(expected_rand));
	zassert_ok(sc1777y_emul_get_last_command(fixture->emul, frame, sizeof(frame), &frame_len));
	zassert_mem_equal(expected_frame, frame, sizeof(expected_frame));
	zassert_equal(sizeof(expected_frame), frame_len);
}

ZTEST_F(sc1777y, test_get_random8_rejects_null_output)
{
	zassert_equal(-EINVAL, sc1777y_get_random8(fixture->dev, NULL));
	zassert_equal(0, sc1777y_emul_get_command_count(fixture->emul));
}

ZTEST_F(sc1777y, test_verify_update_auth_sends_008200020008)
{
	const uint8_t encrypted8[8] = {0x11, 0x22, 0x33, 0x44, 0x55, 0x66, 0x77, 0x88};
	const uint8_t expected_frame[] = {0x55, 0x00, 0x82, 0x00, 0x02, 0x00, 0x08,
					  0x11, 0x22, 0x33, 0x44, 0x55, 0x66, 0x77,
					  0x88, 0xFF};
	uint8_t frame[32];
	size_t frame_len;

	zassert_ok(sc1777y_verify_update_auth(fixture->dev, encrypted8));
	zassert_ok(sc1777y_emul_get_last_command(fixture->emul, frame, sizeof(frame), &frame_len));
	zassert_mem_equal(expected_frame, frame, sizeof(expected_frame));
	zassert_equal(sizeof(expected_frame), frame_len);
}

ZTEST_F(sc1777y, test_verify_update_auth_rejects_invalid_input_before_spi)
{
	zassert_equal(-EINVAL, sc1777y_verify_update_auth(fixture->dev, NULL));
	zassert_equal(0, sc1777y_emul_get_command_count(fixture->emul));
}

ZTEST_F(sc1777y, test_apply_key_update_sends_802202010004)
{
	const uint8_t key_data[] = {0x10, 0x20, 0x30, 0x40};
	const uint8_t expected_frame[] = {0x55, 0x80, 0x22, 0x02, 0x01, 0x00,
					  0x04, 0x10, 0x20, 0x30, 0x40, 0x1A};
	uint8_t frame[16];
	size_t frame_len;

	zassert_ok(sc1777y_apply_key_update(fixture->dev, key_data, sizeof(key_data)));
	zassert_ok(sc1777y_emul_get_last_command(fixture->emul, frame, sizeof(frame), &frame_len));
	zassert_mem_equal(expected_frame, frame, sizeof(expected_frame));
	zassert_equal(sizeof(expected_frame), frame_len);
}

ZTEST_F(sc1777y, test_apply_key_update_does_not_resend_after_response_lrc_error)
{
	const uint8_t key_data[] = {0x10, 0x20, 0x30, 0x40};

	sc1777y_emul_corrupt_next_response_lrc(fixture->emul);
	zassert_ok(sc1777y_apply_key_update(fixture->dev, key_data, sizeof(key_data)));
	zassert_equal(1, sc1777y_emul_get_command_count(fixture->emul));
}

ZTEST_F(sc1777y, test_apply_key_update_accepts_max_payload)
{
	uint8_t key_data[SC1777Y_MAX_DATA_LEN];
	uint8_t expected_frame[SC1777Y_MAX_FRAME_LEN];
	uint8_t frame[SC1777Y_MAX_FRAME_LEN];
	size_t frame_len;

	for (size_t i = 0; i < sizeof(key_data); i++) {
		key_data[i] = (uint8_t)i;
	}

	expected_frame[0] = 0x55;
	expected_frame[1] = 0x80;
	expected_frame[2] = 0x22;
	expected_frame[3] = 0x02;
	expected_frame[4] = 0x01;
	expected_frame[5] = 0x08;
	expected_frame[6] = 0x00;
	memcpy(&expected_frame[7], key_data, sizeof(key_data));
	expected_frame[sizeof(expected_frame) - 1U] =
		expected_lrc(&expected_frame[1], sizeof(expected_frame) - 2U);

	zassert_ok(sc1777y_apply_key_update(fixture->dev, key_data, sizeof(key_data)));
	zassert_ok(sc1777y_emul_get_last_command(fixture->emul, frame, sizeof(frame), &frame_len));
	zassert_mem_equal(expected_frame, frame, sizeof(expected_frame));
	zassert_equal(sizeof(expected_frame), frame_len);
}

ZTEST_F(sc1777y, test_apply_key_update_rejects_invalid_input_before_spi)
{
	uint8_t key_data[SC1777Y_MAX_DATA_LEN + 1U] = {0};

	zassert_equal(-EINVAL, sc1777y_apply_key_update(fixture->dev, NULL, 1U));
	zassert_equal(-EINVAL, sc1777y_apply_key_update(fixture->dev, key_data, 0U));
	zassert_equal(-EINVAL, sc1777y_apply_key_update(fixture->dev, key_data,
							sizeof(key_data)));
	zassert_equal(0, sc1777y_emul_get_command_count(fixture->emul));
}
```

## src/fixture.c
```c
/* SPDX-License-Identifier: Apache-2.0 */

#include <zephyr/device.h>
#include <zephyr/drivers/emul.h>
#include <zephyr/drivers/misc/sc1777y_emul.h>
#include <zephyr/ztest.h>

#include "fixture.h"

static void *sc1777y_setup(void)
{
	static struct sc1777y_fixture fixture = {
		.dev = DEVICE_DT_GET(DT_ALIAS(sc1777y_0)),
		.emul = EMUL_DT_GET(DT_ALIAS(sc1777y_0)),
	};

	return &fixture;
}

static void sc1777y_before(void *f)
{
	struct sc1777y_fixture *fixture = f;

	zassert_true(device_is_ready(fixture->dev));
	sc1777y_emul_reset(fixture->emul);
}

ZTEST_SUITE(sc1777y, NULL, sc1777y_setup, sc1777y_before, NULL, NULL);
```
